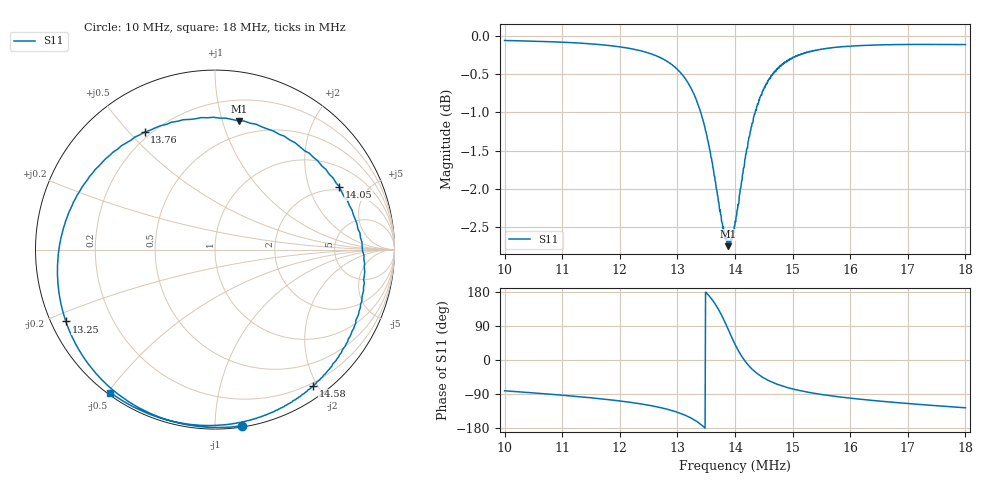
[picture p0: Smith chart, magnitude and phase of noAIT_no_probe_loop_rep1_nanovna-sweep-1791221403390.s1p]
! NanoVNA Web complex sweep
! Processing: unaveraged complex samples; linear segment spacing; no smoothing
# Hz S RI R 50
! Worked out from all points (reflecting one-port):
!   1010 points, 10 MHz to 18 MHz, reference 50 ohm
!   lowest |S11| = -2.7 dB at 13.89 MHz (marker M1), VSWR 6.37, Z = 18.5 + j56.7 ohm
!   phase of S11 starts at -81 deg and turns -405 deg over the sweep
!   S11 on the Smith chart (normalised r, x): 10 MHz: 0.01, -1.17; 13.25 MHz: 0.04, -0.23; 13.76 MHz: 0.18, +0.55; 14.05 MHz: 1.84, +3.23; 14.58 MHz: 0.16, -1.94; 18 MHz: 0.01, -0.51
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1e7  0.151 -0.9816
1.100698e7  -0.0516 -0.9892
1.200604e7  -0.3069 -0.9346
1.260071e7  -0.5182 -0.8219
1.282272e7  -0.6171 -0.7382
1.300509e7  -0.7087 -0.6335
1.325089e7  -0.8309 -0.4001
1.342533e7  -0.8775 -0.1183
1.355219e7  -0.8313 0.1621
1.36077e7  -0.7679 0.3037
1.36632e7  -0.667 0.4467
1.375835e7  -0.3928 0.6547
1.382178e7  -0.1387 0.7253
1.388521e7  0.1335 0.7164
1.393278e7  0.3256 0.6607
1.400414e7  0.573 0.4945
1.405172e7  0.6932 0.3489
1.410722e7  0.7822 0.1674
1.417065e7  0.8295 -0.0287
1.431338e7  0.7849 -0.394
1.444024e7  0.6802 -0.6079
1.458296e7  0.5473 -0.76
1.476533e7  0.3904 -0.8693
1.50032e7  0.2261 -0.9408
1.544722e7  0.00511 -0.9796
1.600225e7  -0.1824 -0.9671
1.700131e7  -0.4148 -0.8958
1.800036e7  -0.5822 -0.797
